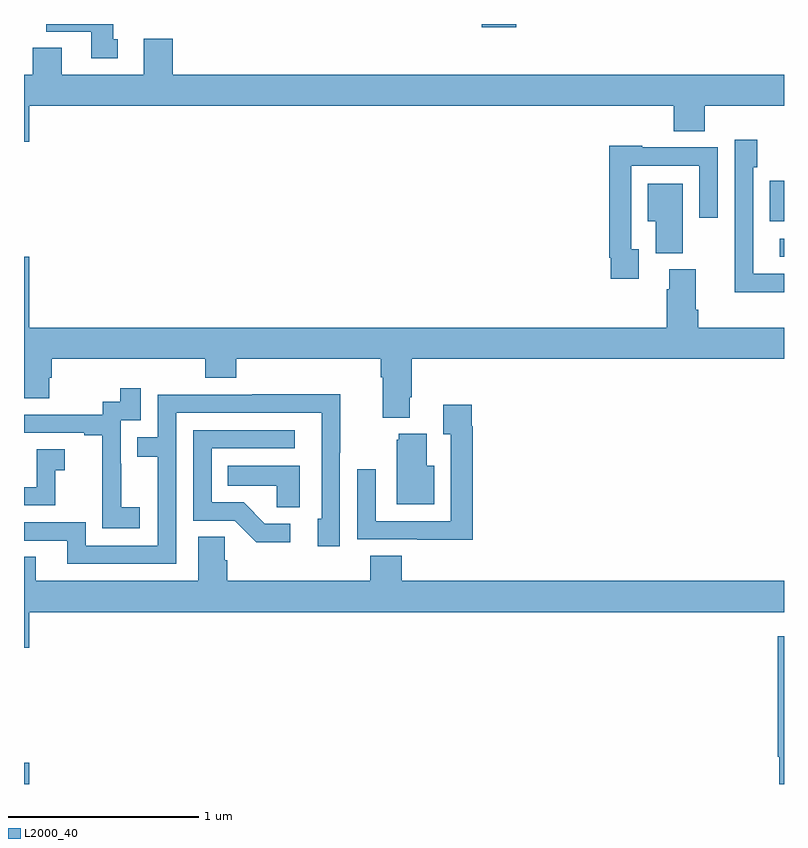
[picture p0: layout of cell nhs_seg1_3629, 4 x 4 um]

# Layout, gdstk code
import gdstk
lib = gdstk.Library(unit=1e-6, precision=1e-09)
def R(c, l, rs):  # rectangles x0, y0, x1, y1
    for r in rs: c.add(gdstk.rectangle(r[:2], r[2:], *l))
def P(c, l, *ps):  # polygons
    for p in ps: c.add(gdstk.Polygon(p, *l))
L2000_40 = (2000, 40)

nhs_seg1_3629 = lib.new_cell('nhs_seg1_3629')
R(nhs_seg1_3629, L2000_40, [(309,512.199,309.028,512.311), (312.978,514.974,313,515.07), (312.926,515.162,313,515.373), (311.408,516.183,311.591,516.199)])
P(nhs_seg1_3629, L2000_40, [(309.493,516.12),(309.469,516.12),(309.469,516.199),(309.118,516.199),(309.118,516.158),(309.353,516.158),(309.353,516.018),(309.493,516.018)],
  [(309.028,515.768),(312.419,515.768),(312.419,515.635),(312.584,515.635),(312.584,515.768),(313,515.768),(313,515.932),(309.782,515.932),(309.782,516.121),(309.629,516.121),(309.629,515.932),(309.199,515.932),(309.199,516.073),(309.047,516.073),(309.047,515.932),(309,515.932),(309,515.58),(309.028,515.58)],
  [(313,514.884),(312.837,514.884),(312.837,515.445),(312.859,515.445),(312.859,515.59),(312.741,515.59),(312.741,515.09),(312.74,515.09),(312.74,514.787),(313,514.787)],
  [(312.235,515.013),(312.195,515.013),(312.195,515.454),(312.555,515.454),(312.555,515.178),(312.651,515.178),(312.651,515.55),(312.255,515.55),(312.255,515.557),(312.079,515.557),(312.079,514.969),(312.087,514.969),(312.087,514.857),(312.235,514.857)],
  [(312.466,515.359),(312.284,515.359),(312.284,515.162),(312.326,515.162),(312.326,514.993),(312.466,514.993)],
  [(311.029,514.234),(311.042,514.234),(311.042,514.436),(313,514.436),(313,514.6),(312.548,514.6),(312.548,514.696),(312.535,514.696),(312.535,514.908),(312.395,514.908),(312.395,514.802),(312.383,514.802),(312.383,514.6),(309.028,514.6),(309.028,514.975),(309,514.975),(309,514.228),(309.133,514.228),(309.133,514.338),(309.146,514.338),(309.146,514.436),(309.953,514.436),(309.953,514.337),(310.118,514.337),(310.118,514.436),(310.877,514.436),(310.877,514.34),(310.889,514.34),(310.889,514.127),(311.029,514.127)],
  [(309.61,513.655),(309.512,513.655),(309.512,513.884),(309.51,513.884),(309.51,514.113),(309.615,514.113),(309.615,514.282),(309.507,514.282),(309.507,514.212),(309.414,514.212),(309.414,514.143),(309,514.143),(309,514.047),(309.317,514.047),(309.317,514.035),(309.413,514.035),(309.413,513.751),(309.412,513.751),(309.412,513.545),(309.61,513.545)],
  [(309.801,514.152),(310.566,514.152),(310.566,513.594),(310.547,513.594),(310.547,513.45),(310.662,513.45),(310.662,513.943),(310.665,513.943),(310.665,514.25),(310.201,514.25),(310.201,514.248),(309.705,514.248),(309.705,514.023),(309.595,514.023),(309.595,513.922),(309.705,513.922),(309.705,513.453),(309.324,513.453),(309.324,513.576),(309,513.576),(309,513.48),(309.227,513.48),(309.227,513.357),(309.801,513.357)],
  [(311.363,514.082),(311.356,514.082),(311.356,514.195),(311.207,514.195),(311.207,514.039),(311.247,514.039),(311.247,513.582),(310.851,513.582),(310.851,513.856),(310.755,513.856),(310.755,513.486),(311.071,513.486),(311.071,513.485),(311.363,513.485)],
  [(310.402,513.57),(310.267,513.57),(310.156,513.681),(309.987,513.681),(309.987,513.966),(310.426,513.966),(310.426,514.062),(309.891,514.062),(309.891,513.585),(310.11,513.585),(310.223,513.472),(310.402,513.472)],
  [(311.158,513.874),(311.119,513.874),(311.119,514.042),(310.973,514.042),(310.973,514.011),(310.961,514.011),(310.961,513.671),(311.158,513.671)],
  [(309.165,513.851),(309.214,513.851),(309.214,513.961),(309.066,513.961),(309.066,513.762),(309,513.762),(309,513.666),(309.165,513.666)],
  [(310.45,513.874),(310.072,513.874),(310.072,513.77),(310.329,513.77),(310.329,513.655),(310.45,513.655)],
  [(309.028,513.104),(313,513.104),(313,513.268),(310.988,513.268),(310.988,513.401),(310.823,513.401),(310.823,513.268),(310.07,513.268),(310.07,513.377),(310.056,513.377),(310.056,513.5),(309.917,513.5),(309.917,513.268),(309.061,513.268),(309.061,513.395),(309,513.395),(309,512.916),(309.028,512.916)],
  [(313,512.977),(312.967,512.977),(312.967,512.342),(312.974,512.342),(312.974,512.199),(313,512.199)])

lib.write_gds('nhs_seg1_3629.gds')
